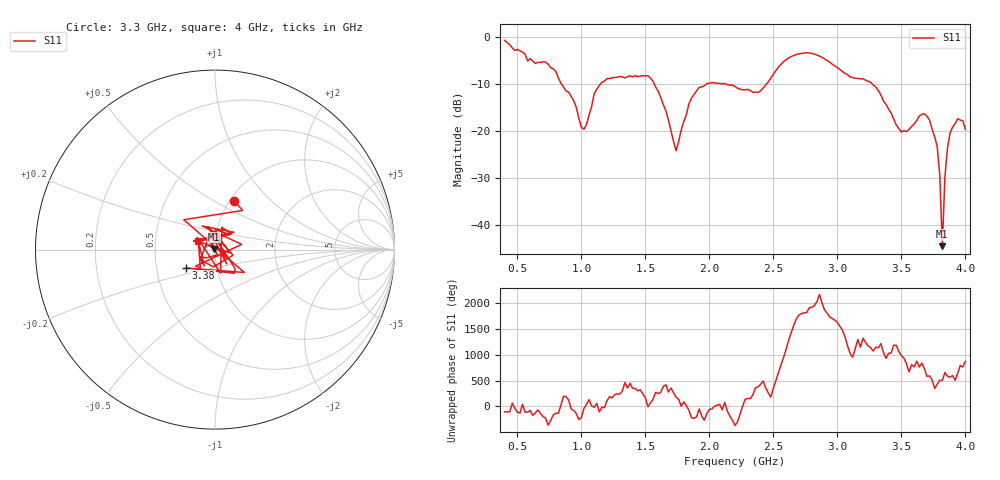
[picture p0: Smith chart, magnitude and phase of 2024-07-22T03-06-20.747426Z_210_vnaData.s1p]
!Created with skrf (http://scikit-rf.org).
# Hz S RI R 50.0
!freq ReS11 ImS11
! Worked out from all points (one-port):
!   181 points, 400 MHz to 4 GHz, reference 50 ohm
!   lowest |S11| = -44.6 dB at 3.82 GHz (marker M1), VSWR 1.01, Z = 49.5 + j0.346 ohm
!   |S11| at or under -10 dB: 1.569 GHz to 1.978 GHz (409.1 MHz wide, 23.1 % of centre); 2.125 GHz to 2.448 GHz (323 MHz wide, 14.1 % of centre); 3.271 GHz to end of sweep (the widest 3 of 4)
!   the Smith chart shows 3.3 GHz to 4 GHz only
!   S11 on the Smith chart (normalised r, x): 3.3 GHz: 1.04, +0.62; 3.38 GHz: 0.71, -0.15; 4 GHz: 0.83, +0.08
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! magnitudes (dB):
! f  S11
! 400 MHz  -0.8
! 720 MHz  -5.4
! 860 MHz  -10.6
! 1.02 GHz  -19.7
! 1.14 GHz  -10.4
! 1.3 GHz  -8.4
! 1.54 GHz  -8.8
! 1.66 GHz  -15.8
! 1.74 GHz  -24.3
! 1.76 GHz  -22.3
! 1.84 GHz  -14.3
! 1.92 GHz  -10.8
! 2.2 GHz  -10.6
! 2.38 GHz  -11.8
! 2.66 GHz  -3.9
! 3.1 GHz  -8.5
! 3.3 GHz  -10.7
! 3.38 GHz  -14.4
! 3.5 GHz  -20.3
! 3.56 GHz  -19.7
! 3.68 GHz  -16.4
! 3.76 GHz  -21.3
! 3.8 GHz  -29.5
! 3.82 GHz  -44.6
! 3.84 GHz  -29.8
! 3.88 GHz  -20.5
! 3.94 GHz  -17.4
! 4 GHz  -19.7
